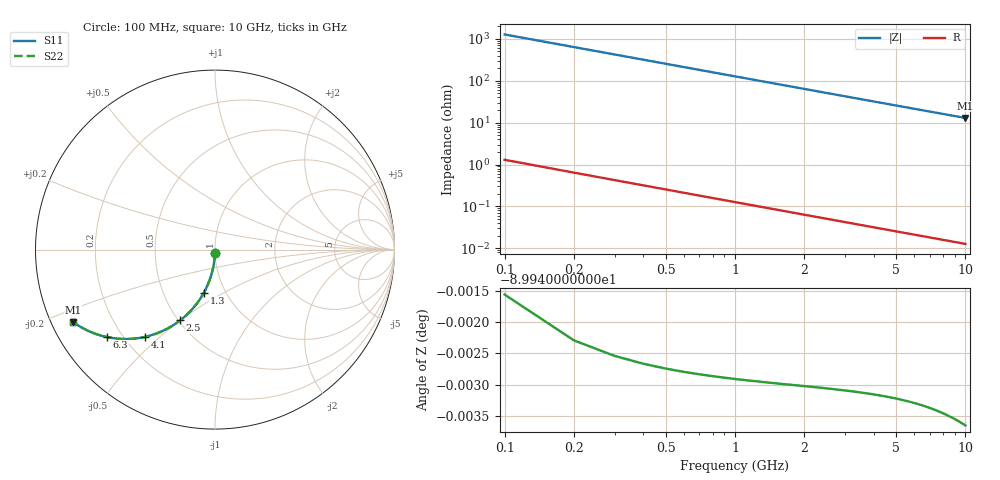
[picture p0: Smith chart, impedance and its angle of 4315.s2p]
# Hz S RI R 50.00
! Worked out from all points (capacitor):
!   100 points, 100 MHz to 10 GHz, reference 50 ohm
!   read as one part in shunt: C = 1.25 pF near 100 MHz
!   lowest |Z| = 12.9 ohm at 10 GHz (marker M1)
!   S11 on the Smith chart (normalised r, x): 100 MHz: 1.00, -0.04; 1.3 GHz: 0.79, -0.40; 2.5 GHz: 0.51, -0.50; 4.1 GHz: 0.28, -0.45; 6.3 GHz: 0.14, -0.35; 10 GHz: 0.06, -0.24
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1e8  -0.0004 -0.0196  0.9996 -0.0197  0.9996 -0.0197  -0.0004 -0.0196
2e8  -0.00158 -0.0392  0.9984 -0.0393  0.9984 -0.0393  -0.00158 -0.0392
3e8  -0.00352 -0.0587  0.9965 -0.0589  0.9965 -0.0589  -0.00352 -0.0587
4e8  -0.00622 -0.078  0.9938 -0.0783  0.9938 -0.0783  -0.00622 -0.078
5e8  -0.00966 -0.0972  0.9903 -0.0975  0.9903 -0.0975  -0.00966 -0.0972
6e8  -0.0138 -0.1161  0.9862 -0.1165  0.9862 -0.1165  -0.0138 -0.1161
8e8  -0.0243 -0.1532  0.9757 -0.1536  0.9757 -0.1536  -0.0243 -0.1532
1e9  -0.0374 -0.1889  0.9626 -0.1894  0.9626 -0.1894  -0.0374 -0.1889
1.3e9  -0.0614 -0.2393  0.9386 -0.24  0.9386 -0.24  -0.0614 -0.2393
1.5e9  -0.0801 -0.2705  0.9199 -0.2713  0.9199 -0.2713  -0.0801 -0.2705
1.8e9  -0.1112 -0.3134  0.8888 -0.3144  0.8888 -0.3144  -0.1112 -0.3134
2.1e9  -0.1454 -0.3514  0.8546 -0.3526  0.8546 -0.3526  -0.1454 -0.3514
2.5e9  -0.194 -0.3942  0.806 -0.3957  0.806 -0.3957  -0.194 -0.3942
2.9e9  -0.2443 -0.4284  0.7556 -0.43  0.7556 -0.43  -0.2443 -0.4284
3.4e9  -0.3073 -0.4599  0.6927 -0.4619  0.6927 -0.4619  -0.3073 -0.4599
4.1e9  -0.3915 -0.4864  0.6084 -0.4888  0.6084 -0.4888  -0.3915 -0.4864
5.1e9  -0.4981 -0.498  0.5019 -0.501  0.5019 -0.501  -0.4981 -0.498
6.3e9  -0.6015 -0.4872  0.3985 -0.4909  0.3985 -0.4909  -0.6015 -0.4872
6.7e9  -0.6304 -0.4802  0.3696 -0.4842  0.3696 -0.4842  -0.6304 -0.4802
7.5e9  -0.6809 -0.4634  0.3191 -0.4678  0.3191 -0.4678  -0.6809 -0.4634
8.4e9  -0.7276 -0.4422  0.2723 -0.4471  0.2723 -0.4471  -0.7276 -0.4422
1e10  -0.7907 -0.4033  0.2093 -0.4093  0.2093 -0.4093  -0.7907 -0.4033
